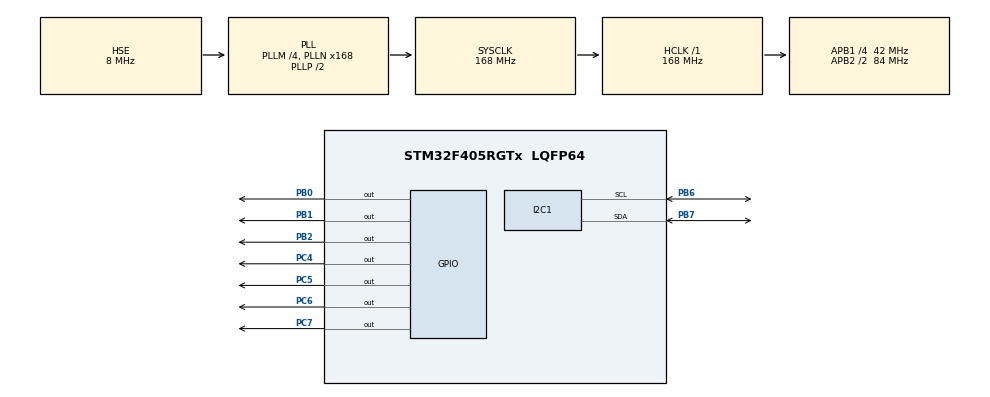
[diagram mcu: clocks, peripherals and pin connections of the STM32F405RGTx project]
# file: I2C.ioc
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I2C1.I2C_Mode=I2C_Fast
Mcu.Family=STM32F4
Mcu.Name=STM32F405RGTx
Mcu.Package=LQFP64
NVIC.PriorityGroup=NVIC_PRIORITYGROUP_4
PA13.Mode=Serial_Wire
PA13.Signal=SYS_JTMS-SWDIO
PA14.Mode=Serial_Wire
PA14.Signal=SYS_JTCK-SWCLK
PB0.Signal=GPIO_Output
PB1.Signal=GPIO_Output
PB2.Signal=GPIO_Output
PB6.Mode=I2C
PB6.Signal=I2C1_SCL
PB7.Mode=I2C
PB7.Signal=I2C1_SDA
PC4.Signal=GPIO_Output
PC5.Signal=GPIO_Output
PC6.Signal=GPIO_Output
PC7.Signal=GPIO_Output
PH0-OSC_IN.Mode=HSE-External-Oscillator
PH0-OSC_IN.Signal=RCC_OSC_IN
PH1-OSC_OUT.Mode=HSE-External-Oscillator
PH1-OSC_OUT.Signal=RCC_OSC_OUT
ProjectManager.HeapSize=0x200
ProjectManager.StackSize=0x400
ProjectManager.TargetToolchain=EWARM V8.32
RCC.48MHZClocksFreq_Value=84000000
RCC.AHBFreq_Value=168000000
RCC.APB1CLKDivider=RCC_HCLK_DIV4
RCC.APB1Freq_Value=42000000
RCC.APB1TimFreq_Value=84000000
RCC.APB2CLKDivider=RCC_HCLK_DIV2
RCC.APB2Freq_Value=84000000
RCC.APB2TimFreq_Value=168000000
RCC.CortexFreq_Value=168000000
RCC.HCLKFreq_Value=168000000
RCC.HSE_VALUE=8000000
RCC.HSI_VALUE=16000000
RCC.LSE_VALUE=32768
RCC.PLLM=4
RCC.PLLN=168
RCC.PLLSourceVirtual=RCC_PLLSOURCE_HSE
RCC.SYSCLKFreq_VALUE=168000000
RCC.SYSCLKSource=RCC_SYSCLKSOURCE_PLLCLK
RCC.VCOOutputFreq_Value=336000000
board=custom

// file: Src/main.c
/* USER CODE BEGIN Header */
/**
  ******************************************************************************
  * @file           : main.c
  * @brief          : Main program body
  ******************************************************************************
  * @attention
  *
  * <h2><center>&copy; Copyright (c) 2020 STMicroelectronics.
  * All rights reserved.</center></h2>
  *
  * This software component is licensed by ST under BSD 3-Clause license,
  * the "License"; You may not use this file except in compliance with the
  * License. You may obtain a copy of the License at:
  *                        opensource.org/licenses/BSD-3-Clause
  *
  ******************************************************************************
  */
/* USER CODE END Header */

#include "main.h"
#include "i2c.h"
#include "gpio.h"

/* USER CODE BEGIN Includes */
#include <stdio.h>
#include <string.h>
#include "lcd.h"
/* USER CODE END Includes */

/* USER CODE BEGIN PD */
#define SHT2x_ADDR              (0x40 << 1)
#define SHT2x_HOLD_MASTER_T     0xE3
#define SHT2x_HOLD_MASTER_RH    0xE5
#define SHT2x_NOHOLD_MASTER_T   0xF3
#define SHT2x_NOHOLD_MASTER_RH  0xF5
#define SHT2x_WRITE_USER_REG    0xE6
#define SHT2x_READ_USER_REG     0xE7
#define SHT2x_SOFT_RESET        0xFE
/* USER CODE END PD */

/* USER CODE BEGIN PV */
uint8_t i2cData[2];
uint16_t val = 0;
uint8_t mode;
float temp, hum;
char lcdStr[16];
/* USER CODE END PV */

void SystemClock_Config(void);

int main(void)
{

  /* MCU Configuration--------------------------------------------------------*/

  /* Reset of all peripherals, Initializes the Flash interface and the Systick. */
  HAL_Init();

  /* Configure the system clock */
  SystemClock_Config();

  /* Initialize all configured peripherals */
  MX_GPIO_Init();
  MX_I2C1_Init();
  /* USER CODE BEGIN 2 */
  lcdInit();
  /* USER CODE END 2 */

  /* Infinite loop */
  /* USER CODE BEGIN WHILE */
  while (1)
  {
    mode = SHT2x_NOHOLD_MASTER_T;
    HAL_I2C_Master_Transmit(&hi2c1, SHT2x_ADDR, &mode, 1, 10);
    HAL_Delay(100);
    HAL_I2C_Master_Receive(&hi2c1, SHT2x_ADDR, i2cData, 2, 10);

    val = i2cData[0] << 8 | i2cData[1];
    temp = -46.85 + 172.72 * (val / 65536.0);

    mode = SHT2x_NOHOLD_MASTER_RH;
    HAL_I2C_Master_Transmit(&hi2c1, SHT2x_ADDR, &mode, 1, 10);
    HAL_Delay(100);
    HAL_I2C_Master_Receive(&hi2c1, SHT2x_ADDR, i2cData, 2, 10);

    val = i2cData[0] << 8 | i2cData[1];
    hum = -6 + 125 * ( val / 65536.0);

    lcdGotoXY(0, 0);
    sprintf(lcdStr, "TEMP : %5.2f\'C", temp);
    lcdPrint(lcdStr);

    lcdGotoXY(0, 1);
    sprintf(lcdStr, "HUMI : %5.2f%%", hum);
    lcdPrint(lcdStr);
    /* USER CODE END WHILE */

  }
}

void SystemClock_Config(void)
{
  RCC_OscInitTypeDef RCC_OscInitStruct = {0};
  RCC_ClkInitTypeDef RCC_ClkInitStruct = {0};

  /** Configure the main internal regulator output voltage
  */
  __HAL_RCC_PWR_CLK_ENABLE();
  __HAL_PWR_VOLTAGESCALING_CONFIG(PWR_REGULATOR_VOLTAGE_SCALE1);
  /** Initializes the CPU, AHB and APB busses clocks
  */
  RCC_OscInitStruct.OscillatorType = RCC_OSCILLATORTYPE_HSE;
  RCC_OscInitStruct.HSEState = RCC_HSE_ON;
  RCC_OscInitStruct.PLL.PLLState = RCC_PLL_ON;
  RCC_OscInitStruct.PLL.PLLSource = RCC_PLLSOURCE_HSE;
  RCC_OscInitStruct.PLL.PLLM = 4;
  RCC_OscInitStruct.PLL.PLLN = 168;
  RCC_OscInitStruct.PLL.PLLP = RCC_PLLP_DIV2;
  RCC_OscInitStruct.PLL.PLLQ = 4;
  if (HAL_RCC_OscConfig(&RCC_OscInitStruct) != HAL_OK)
  {
    Error_Handler();
  }
  /** Initializes the CPU, AHB and APB busses clocks
  */
  RCC_ClkInitStruct.ClockType = RCC_CLOCKTYPE_HCLK|RCC_CLOCKTYPE_SYSCLK
                              |RCC_CLOCKTYPE_PCLK1|RCC_CLOCKTYPE_PCLK2;
  RCC_ClkInitStruct.SYSCLKSource = RCC_SYSCLKSOURCE_PLLCLK;
  RCC_ClkInitStruct.AHBCLKDivider = RCC_SYSCLK_DIV1;
  RCC_ClkInitStruct.APB1CLKDivider = RCC_HCLK_DIV4;
  RCC_ClkInitStruct.APB2CLKDivider = RCC_HCLK_DIV2;

  if (HAL_RCC_ClockConfig(&RCC_ClkInitStruct, FLASH_LATENCY_5) != HAL_OK)
  {
    Error_Handler();
  }
}

void Error_Handler(void)
{
}

/************************ (C) COPYRIGHT STMicroelectronics *****END OF FILE****/
